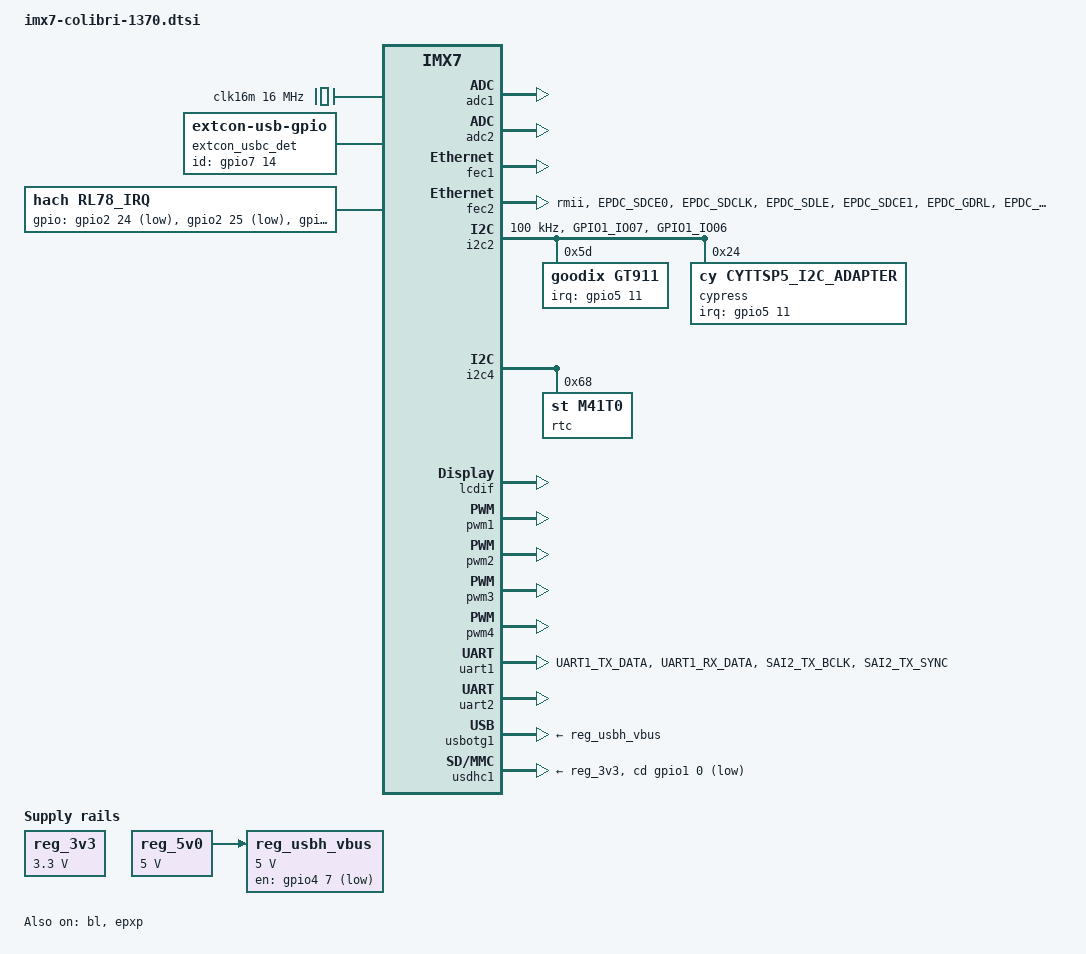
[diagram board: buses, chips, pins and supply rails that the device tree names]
/*
 * Copyright 2016 Toradex AG
 *
 * This file is dual-licensed: you can use it either under the terms
 * of the GPL or the X11 license, at your option. Note that this dual
 * licensing only applies to this file, and not this project as a
 * whole.
 *
 *  a) This file is free software; you can redistribute it and/or
 *     modify it under the terms of the GNU General Public License as
 *     published by the Free Software Foundation; either version 2 of the
 *     License, or (at your option) any later version.
 *
 *     This file is distributed in the hope that it will be useful,
 *     but WITHOUT ANY WARRANTY; without even the implied warranty of
 *     MERCHANTABILITY or FITNESS FOR A PARTICULAR PURPOSE.  See the
 *     GNU General Public License for more details.
 *
 * Or, alternatively,
 *
 *  b) Permission is hereby granted, free of charge, to any person
 *     obtaining a copy of this software and associated documentation
 *     files (the "Software"), to deal in the Software without
 *     restriction, including without limitation the rights to use,
 *     copy, modify, merge, publish, distribute, sublicense, and/or
 *     sell copies of the Software, and to permit persons to whom the
 *     Software is furnished to do so, subject to the following
 *     conditions:
 *
 *     The above copyright notice and this permission notice shall be
 *     included in all copies or substantial portions of the Software.
 *
 *     THE SOFTWARE IS PROVIDED "AS IS", WITHOUT WARRANTY OF ANY KIND,
 *     EXPRESS OR IMPLIED, INCLUDING BUT NOT LIMITED TO THE WARRANTIES
 *     OF MERCHANTABILITY, FITNESS FOR A PARTICULAR PURPOSE AND
 *     NONINFRINGEMENT. IN NO EVENT SHALL THE AUTHORS OR COPYRIGHT
 *     HOLDERS BE LIABLE FOR ANY CLAIM, DAMAGES OR OTHER LIABILITY,
 *     WHETHER IN AN ACTION OF CONTRACT, TORT OR OTHERWISE, ARISING
 *     FROM, OUT OF OR IN CONNECTION WITH THE SOFTWARE OR THE USE OR
 *     OTHER DEALINGS IN THE SOFTWARE.
 */

/ {
	aliases {
		rtc0 = &snvs_rtc;
		rtc1 = &rtc;
	};

	chosen {
		stdout-path = "serial0:115200n8";
	};

	/* fixed crystal dedicated to mcp251x */
	clk16m: clk16m {
		compatible = "fixed-clock";
		#clock-cells = <0>;
		clock-frequency = <16000000>;
	};

	extcon_usbc_det: usbc_det {
		compatible = "linux,extcon-usb-gpio";
		debounce = <25>;
		id-gpio = <&gpio7 14 GPIO_ACTIVE_HIGH>;
		pinctrl-names = "default";
		pinctrl-0 = <&pinctrl_usbc_det>;
	};

	reg_3v3: regulator-3v3 {
		compatible = "regulator-fixed";
		regulator-name = "3.3V";
		regulator-min-microvolt = <3300000>;
		regulator-max-microvolt = <3300000>;
	};

	reg_5v0: regulator-5v0 {
		compatible = "regulator-fixed";
		regulator-name = "5V";
		regulator-min-microvolt = <5000000>;
		regulator-max-microvolt = <5000000>;
	};

	reg_usbh_vbus: regulator-usbh-vbus {
		compatible = "regulator-fixed";
		pinctrl-names = "default";
		pinctrl-0 = <&pinctrl_usbh_reg>;
		regulator-name = "VCC_USB[1-4]";
		regulator-min-microvolt = <5000000>;
		regulator-max-microvolt = <5000000>;
		gpio = <&gpio4 7 GPIO_ACTIVE_LOW>;
		vin-supply = <&reg_5v0>;
	};

	/* Remove sound module */
	/delete-node/sound;

};

&bl {
	/* Use PWM_B for backlight */
	/* last value is for polarity: 0-normal, 1-inverted */
	pwms = <&pwm2 0 5000000 1>;

	/* GPIO to enable backlight on 1370-C is GPIO4_IO11 - SODIMM 86 */
	enable-gpios = <&gpio4 11 GPIO_ACTIVE_HIGH>;

	/* 6 levels inverted for 1370 board with backlight reduced by PWM */
	/* At level 0, the driver uses the enable gpio to stop the backlight and the PWM is disabled */
	brightness-levels = <0 30 50 100 170 255>;
	default-brightness-level = <5>;
	power-supply = <&reg_3v3>;

	status = "okay";
};

&adc1 {
	status = "okay";
};

&adc2 {
	status = "okay";
};

&epxp {
	status = "okay";
};

&fec1 {
	status = "okay";
};


/*
	fec1 configuration from imx7s.dtsi, imx7-colibri.dtsi, imx7-colibri-1370.dtsi gives:
		compatible = "fsl,imx7d-fec", "fsl,imx6sx-fec";
		reg = <0x30be0000 0x10000>;
		interrupts = <GIC_SPI 118 IRQ_TYPE_LEVEL_HIGH>,
			<GIC_SPI 119 IRQ_TYPE_LEVEL_HIGH>,
			<GIC_SPI 120 IRQ_TYPE_LEVEL_HIGH>;
		clocks = <&clks IMX7D_ENET_AXI_ROOT_CLK>,
			<&clks IMX7D_ENET_AXI_ROOT_CLK>,
			<&clks IMX7D_ENET1_TIME_ROOT_CLK>,
			<&clks IMX7D_PLL_ENET_MAIN_50M_CLK>;
		clock-names = "ipg", "ahb", "ptp", "enet_clk_ref";
		fsl,num-tx-queues=<3>;
		fsl,num-rx-queues=<3>;
		status = "okay";
		pinctrl-names = "default", "sleep";
		pinctrl-0 = <&pinctrl_enet1>;
		pinctrl-1 = <&pinctrl_enet1_sleep>;
		assigned-clocks = <&clks IMX7D_ENET1_TIME_ROOT_SRC>, <&clks IMX7D_ENET1_TIME_ROOT_CLK>;
		assigned-clock-parents = <&clks IMX7D_PLL_ENET_MAIN_100M_CLK>;
		assigned-clock-rates = <0>, <100000000>;
		phy-mode = "rmii";
		phy-supply = <&reg_LDO1>;
		fsl,magic-packet;

	fec2 configuration from imx7d.dtsi gives:
		compatible = "fsl,imx7d-fec", "fsl,imx6sx-fec";
		reg = <0x30bf0000 0x10000>;
		interrupts = <GIC_SPI 100 IRQ_TYPE_LEVEL_HIGH>,
			<GIC_SPI 101 IRQ_TYPE_LEVEL_HIGH>,
			<GIC_SPI 102 IRQ_TYPE_LEVEL_HIGH>;
		clocks = <&clks IMX7D_ENET2_IPG_ROOT_CLK>,
			<&clks IMX7D_ENET_AXI_ROOT_CLK>,
			<&clks IMX7D_ENET2_TIME_ROOT_CLK>,
			<&clks IMX7D_PLL_ENET_MAIN_125M_CLK>,
			<&clks IMX7D_ENET_PHY_REF_ROOT_DIV>;
		clock-names = "ipg", "ahb", "ptp",
			"enet_clk_ref", "enet_out";
		fsl,num-tx-queues=<3>;
		fsl,num-rx-queues=<3>;
		status = "disabled";

		We customize it to:
		- get our pinctrl configuration to select proper pin
		- select phy rmii mode
		- enable the fec2 interface
		- enable fsl,magic-packet to be able to wake-up controller with a magic packet
		- enable fsl,mii-exclusive to use a dedicated sdio per fec interface
		- properly set clocks:
			- same as the fec1 clocks (ipg, ahb and ptp values not clear, probably coming from ethernet controller requirements). The default imx7d.dtsi clock settings for fec2 are for gigabyte ethernet PHY.
			- don't reuse the same clocks as fec1 to avoid interferences
			- pinctrl_enet2 settings comes from a forum, it is not clear why the SION bit is required for MX7D_PAD_I2C2_SCL__CCM_ENET_REF_CLK2
*/
&fec2 {
	pinctrl-names = "default", "sleep";
	pinctrl-0 = <&pinctrl_enet2>;
	pinctrl-1 = <&pinctrl_enet2_sleep>;

	clocks = <&clks IMX7D_ENET2_IPG_ROOT_CLK>,
		<&clks IMX7D_ENET_AXI_ROOT_CLK>,
		<&clks IMX7D_ENET2_TIME_ROOT_CLK>,
		<&clks IMX7D_PLL_ENET_MAIN_50M_CLK>,
		<&clks IMX7D_ENET2_REF_ROOT_DIV>;
	clock-names = "ipg", "ahb", "ptp", "enet_clk_ref", "enet_out";

	assigned-clocks = 	<&clks IMX7D_ENET2_TIME_ROOT_SRC>,
				<&clks IMX7D_ENET2_TIME_ROOT_CLK>,
				<&clks IMX7D_ENET_PHY_REF_ROOT_DIV>;
	assigned-clock-parents = <&clks IMX7D_PLL_ENET_MAIN_100M_CLK>;
	assigned-clock-rates = <0>, <100000000>, <50000000>;

	phy-mode = "rmii";

	fsl,mii-exclusive;
	fsl,magic-packet;

	status = "okay";
};


&i2c1 {

	/* Remove audio codec */
	/delete-node/sgtl5000@0a;

	/* Remove resistive touchscreen */
	/delete-node/ad7879@2c;

};

&i2c2 {
	clock-frequency = <100000>;
	pinctrl-names = "default";
	pinctrl-0 = <&pinctrl_i2c2>;
	status = "okay";

	/* Goodix touchscreen controller */
	goodix: goodix@5d {
		compatible = "goodix,gt911";
		pinctrl-names = "default";
		pinctrl-0 = <&pinctrl_i2ctouch>;
		reg = <0x5d>;
		interrupt-parent = <&gpio5>;
		interrupts = <11 IRQ_TYPE_EDGE_FALLING>; /* (PIN 98) */
		status = "okay";
	};

	/* Cypress touchscreen controller */
	/* Reset and interrupt GPIO set in pinctrl_gpio2 */
	cypress: cypress@24 {
		compatible = "cy,cyttsp5_i2c_adapter";
		pinctrl-names = "default";
		pinctrl-0 = <&pinctrl_i2ctouch>;
		reg = <0x24>;

		interrupt-parent = <&gpio5>;
		interrupts = <11 IRQ_TYPE_EDGE_FALLING>; /* (SODIMM 98 - SD2_RESET_B) - gpio5.11 */
		cy,adapter_id = "cyttsp5_i2c_adapter";

		cy,core {
			cy,name = "cyttsp5_core";

			cy,irq_gpio = <139>; /* (SODIMM 98 - SD2_RESET_B) - gpio5.11 = (5-1) x 32 + 11 = 139 */
			cy,rst_gpio = <114>; /* (SODIMM 79 - ECSPI1_MISO) gpio4.18 = (4-1) x 32 + 18 = 114 */
			cy,hid_desc_register = <1>;
			/*CY_CORE_FLAG_RESTORE_PARAMETERS */
			cy,flags = <4>;
			/* CY_CORE_EWG_NONE */
			cy,easy_wakeup_gesture = <0>;
			cy,btn_keys = <
					60 /* KEY_F2 */
					62 /* KEY_F4 */
					>;
			cy,btn_keys-tag = <0>;

			cy,mt {
				cy,name = "cyttsp5_mt";

				cy,inp_dev_name = "cyttsp5_mt";
				cy,flags = <0x0>;
				cy,abs =
					/* ABS_MT_POSITION_X, CY_ABS_MIN_X, CY_ABS_MAX_X, 0, 0 */
					<0x35 0 320 0 0
					/* ABS_MT_POSITION_Y, CY_ABS_MIN_Y, CY_ABS_MAX_Y, 0, 0 */
					0x36 0 240 0 0
					/* ABS_MT_PRESSURE, CY_ABS_MIN_P, CY_ABS_MAX_P, 0, 0 */
					0x3a 0 255 0 0
					/* CY_IGNORE_VALUE, CY_ABS_MIN_W, CY_ABS_MAX_W, 0, 0 */
					0xffff 0 255 0 0
					/* ABS_MT_TRACKING_ID, CY_ABS_MIN_T, CY_ABS_MAX_T, 0, 0 */
					0x39 0 15 0 0
					/* ABS_MT_TOUCH_MAJOR, 0, 255, 0, 0 */
					0x30 0 255 0 0
					/* ABS_MT_TOUCH_MINOR, 0, 255, 0, 0 */
					0x31 0 255 0 0
					/* ABS_MT_ORIENTATION, -127, 127, 0, 0 */
					0x34 0xffffff81 127 0 0
					/* ABS_MT_TOOL_TYPE, 0, MT_TOOL_MAX, 0, 0 */
					0x37 0 1 0 0
					/* ABS_MT_DISTANCE, 0, 255, 0, 0 */
					0x3b 0 255 0 0>;
			};

			cy,btn {
				cy,name = "cyttsp5_btn";

				cy,inp_dev_name = "cyttsp5_btn";
			};
		};
	};

};

&i2c4 {
	status = "okay";

/* the PCAPs use SODIMM 28/30, also used for PWM<B>, PWM<C>, aka pwm2, pwm3.
   so if you enable one of the PCAP controllers disable the pwms */
	/* Atmel maxtouch controller */
	atmel_mxt_ts: atmel_mxt_ts@4a {
		compatible = "atmel,maxtouch";
		pinctrl-names = "default";
		pinctrl-0 = <&pinctrl_gpiotouch>;
		reg = <0x4a>;
		interrupt-parent = <&gpio1>;
		interrupts = <9 IRQ_TYPE_EDGE_FALLING>; /* SODIMM 28 */
		reset-gpios = <&gpio1 10 GPIO_ACTIVE_HIGH>; /* SODIMM 30 */
		status = "disabled";
	};

	touch: touchrevf0710a@10 {
		compatible = "touchrevolution,fusion-f0710a";
		pinctrl-names = "default";
		pinctrl-0 = <&pinctrl_gpiotouch>;
		reg = <0x10>;
			/* SODIMM 28, Pen down interrupt */
		gpios = <&gpio1 9 GPIO_ACTIVE_HIGH
			/* SODIMM 30, Reset interrupt */
			 &gpio1 10 GPIO_ACTIVE_LOW
			>;
		status = "disabled";
	};

	/* M41T0M6 real time clock on carrier board */
	rtc: m41t0m6@68 {
		compatible = "st,m41t0";
		reg = <0x68>;
	};
};

&lcdif {
	display = <&display0>;
	status = "okay";

	display0: lcd-display {
		bits-per-pixel = <32>;
		bus-width = <18>;

		display-timings {

			native-mode = <&timing_qvga_ips>;

			/* QVGA timing for Jiya 14A99 display with Himax controller from datasheet
			   320x240 pixels
			   Parallel-rgb mode:
			   Dot clock	6.5MHz
			   H Back porch	68 dots -> 58 dots (10 dots removed for HSync)
			   H Front porch 20 dots
			   V Back porch	18 lines -> 16 lines (2 lines removed for VSync)
			   V Front porch 4 lines
			   HSync, VSync and DE active low
			   Pixel clock sample on falling edge
			   HSync and VSync are deduced from Data transaction timing in parallel RGB mode
			   HSync: 10 dots (between 2 and 67 dots)
			   VSync: 2 lines
			*/
			timing_qvga: 320x240 {
				clock-frequency = <6500000>;
				hactive = <320>;
				hfront-porch = <20>;
				hsync-len = <10>;
				hback-porch = <58>;

				vactive = <240>;
				vfront-porch = <4>;
				vsync-len = <2>;
				vback-porch = <16>;

				de-active = <0>;
				hsync-active = <0>;
				vsync-active = <0>;
				pixelclk-active = <0>;

				linux,phandle = <&timing_qvga>;
			};

			/* QVGA timing for Jiya (IPS) display with Sitronix controller from datasheet
			   320x240 pixels
			   Parallel-rgb mode:
			   Dot clock	6MHz
			   H Back porch	43 dots -> 39 dots (4 dots removed for HSync)
			   H Front porch 8 dots
			   V Back porch	12 lines -> 8 lines (4 lines removed for VSync)
			   V Front porch 8 lines
			   HSync, VSync and DE active low
			   Pixel clock sample on falling edge
			   HSync and VSync are deduced from Data transaction timing in parallel RGB mode
			   HSync: 4 dots
			   VSync: 4 lines
			*/
			timing_qvga_ips: 320x240_ips {
				clock-frequency = <6000000>;
				hactive = <320>;
				hfront-porch = <8>;
				hsync-len = <4>;
				hback-porch = <39>;

				vactive = <240>;
				vfront-porch = <8>;
				vsync-len = <4>;
				vback-porch = <8>;

				de-active = <0>;
				hsync-active = <0>;
				vsync-active = <0>;
				pixelclk-active = <0>;

				linux,phandle = <&timing_qvga_ips>;
			};
		};
	};
};

&pwm1 {
	status = "okay";
};

/* the PCAPs use SODIMM 28/30, also used for PWM<B>, PWM<C>, aka pwm2, pwm3.
   so if you enable one of the PCAP controllers disable the pwms */
&pwm2 {
	status = "okay";
};

&pwm3 {
	status = "okay";
};

&pwm4 {
	status = "okay";
};

&uart1 {
	status = "okay";
};

&uart2 {
	status = "okay";
};

/* Disable UART3 because it is not used, so that the pin configuration defined in the node "pinctrl_uart3" of imx7d-colibri.dtsi is not took into account
   By disabling it, we make sure that 
   UART3_RX_DATA is set as GPIO4_IO4, signal USBC_OC in PCB 1370-C
   UART3_TX_DATA is set as GPIO4_IO5, signal USBC_P_EN in PCB 1370-C */
&uart3 {
	status = "disabled";
};

/* This is the USBC of the Colibri intended to be connected to USB Box */
&usbotg1 {
	extcon = <&extcon_usbc_det>, <&extcon_usbc_det>;
	vbus-supply = <&reg_usbh_vbus>;
	status = "okay";
	maximum-speed = "full-speed";		/* Force USBC port (USB Box) to full-speed */
};

/* The define SD_1_8 allows to use the SD interface at a higher speed mode
 * if the card supports it. For this the signaling voltage is switched from
 * 3.3V to 1.8V under the usdhc1's drivers control.
 * All pins supplied with NVCC_SD1 must be able to cope with this
 * and must (MUST!!!) not be driven with a voltage higher than 1.8V or
 * the interface will not work.
 */
/* #define SD_1_8 */
&usdhc1 {
#ifdef SD_1_8
	pinctrl-names = "default", "state_100mhz", "state_200mhz";
	pinctrl-0 = <&pinctrl_usdhc1 &pinctrl_cd_usdhc1>;
	pinctrl-1 = <&pinctrl_usdhc1_100mhz &pinctrl_cd_usdhc1>;
	pinctrl-2 = <&pinctrl_usdhc1_200mhz &pinctrl_cd_usdhc1>;
	vqmmc-supply = <&reg_LDO2>;
#else
	pinctrl-names = "default";
	pinctrl-0 = <&pinctrl_usdhc1 &pinctrl_cd_usdhc1>;
	no-1-8-v;
#endif
	cd-gpios = <&gpio1 0 GPIO_ACTIVE_LOW>;
	disable-wp;
	enable-sdio-wakeup;
	keep-power-in-suspend;
	wakeup-source;
	status = "okay";
	vmmc-supply = <&reg_3v3>;
};

&iomuxc {
	pinctrl_gpiotouch: touchgpios {
		fsl,pins = <
			MX7D_PAD_GPIO1_IO09__GPIO1_IO9		0x74
			MX7D_PAD_GPIO1_IO10__GPIO1_IO10		0x14
		>;
	};


	/*
	 SoC connections for second ethernet
		<SoC pin> <SoC name> (<Function>) -> <PHY pin>

		Pin 122 CRS_DV (RX_CTL) -> RXDV
		Pin 114 RXD0 (RD0) -> RXD0
		Pin 116 RXD1 (RD1) -> RXD1
		Pin 124 RXER (RXC) -> RXER
		Pin 133 TXEN (TX_CTL) -> TXEN
		Pin 127 TXD0 (TD0) -> TXD0
		Pin 130 TXD1 (TD1) -> TXD1
		Pin 89 CLKOUT(CLKOUT) -> XI
		Pin 188 MDIO (MDIO) -> MDIO
		Pin 178 MDC (MDC) -> MDC

	IOs conflict with ecspi3 for MX7D_PAD_I2C2_SCL__CCM_ENET_REF_CLK2
	IOs conflict with flexcan2 for MX7D_PAD_GPIO1_IO14__ENET2_MDIO and MX7D_PAD_GPIO1_IO15__ENET2_MDC
	IOs conflict with pinctrl_gpio1 and pinctrl_gpio4 for others
	*/
	pinctrl_enet2: enet2grp {
		fsl,pins = <
			MX7D_PAD_EPDC_SDCE0__ENET2_RGMII_RX_CTL	0x73
			MX7D_PAD_EPDC_SDCLK__ENET2_RGMII_RD0	0x73
			MX7D_PAD_EPDC_SDLE__ENET2_RGMII_RD1		0x73
			MX7D_PAD_EPDC_SDCE1__ENET2_RX_ER		0x73

			MX7D_PAD_EPDC_GDRL__ENET2_RGMII_TX_CTL	0x73
			MX7D_PAD_EPDC_SDCE2__ENET2_RGMII_TD0	0x73
			MX7D_PAD_EPDC_SDCE3__ENET2_RGMII_TD1	0x73
			MX7D_PAD_I2C2_SCL__CCM_ENET_REF_CLK2	0x40000073
			MX7D_PAD_GPIO1_IO14__ENET2_MDIO			0x3
			MX7D_PAD_GPIO1_IO15__ENET2_MDC			0x3
		>;
	};

	/* Duplicated std setting with GPIO selected and 0x0 for mask */
	pinctrl_enet2_sleep: enet2sleepgrp {
		fsl,pins = <
			MX7D_PAD_EPDC_SDCE0__GPIO2_IO20	0x0
			MX7D_PAD_EPDC_SDCLK__GPIO2_IO16	0x0
			MX7D_PAD_EPDC_SDLE__GPIO2_IO17		0x0
			MX7D_PAD_EPDC_SDCE1__GPIO2_IO21	0x0

			MX7D_PAD_EPDC_GDRL__GPIO2_IO26		0x0
			MX7D_PAD_EPDC_SDCE2__GPIO2_IO22	0x0
			MX7D_PAD_EPDC_SDCE3__GPIO2_IO23	0x0
			MX7D_PAD_I2C2_SCL__GPIO4_IO10		0x0
			MX7D_PAD_GPIO1_IO14__GPIO1_IO14	0x0
			MX7D_PAD_GPIO1_IO15__GPIO1_IO15	0x0
		>;
	};

	pinctrl_gpio1: gpio1-grp {
		fsl,pins = <
			MX7D_PAD_SAI1_RX_SYNC__GPIO6_IO16	0x74 /* SODIMM 77 - Reset main board RL78*/
			MX7D_PAD_EPDC_DATA09__GPIO2_IO9		0x14 /* SODIMM 89 */
			MX7D_PAD_EPDC_DATA08__GPIO2_IO8		0x74 /* SODIMM 91 */
			MX7D_PAD_LCD_RESET__GPIO3_IO4		0x14 /* SODIMM 93 */
			MX7D_PAD_EPDC_DATA13__GPIO2_IO13	0x14 /* SODIMM 95 */
			MX7D_PAD_ENET1_RGMII_TXC__GPIO7_IO11	0x14 /* SODIMM 99 */
			MX7D_PAD_EPDC_DATA10__GPIO2_IO10	0x14 /* SODIMM 105 - External WDOG enable (not used) */
			MX7D_PAD_EPDC_DATA04__GPIO2_IO4		0x14 /* SODIMM 119 */
			MX7D_PAD_EPDC_DATA05__GPIO2_IO5		0x14 /* SODIMM 121 */
			MX7D_PAD_EPDC_DATA06__GPIO2_IO6		0x74 /* SODIMM 123 - LOW_BATT battery low when signal low */
			MX7D_PAD_EPDC_DATA07__GPIO2_IO7		0x74 /* SODIMM 125 - Reset the Carrier board */
			MX7D_PAD_UART3_RTS_B__GPIO4_IO6		0x14 /* SODIMM 131 */
			MX7D_PAD_SAI1_RX_DATA__GPIO6_IO12	0x14 /* SODIMM 169 */
			MX7D_PAD_SAI1_RX_BCLK__GPIO6_IO17	0x14 /* SODIMM 24 */
			MX7D_PAD_SD2_DATA2__GPIO5_IO16		0x74 /* SODIMM 100 - Reset RF board (not used) */
			MX7D_PAD_SD2_DATA3__GPIO5_IO17		0x74 /* SODIMM 102 - IRQ from RF board (not used) */
			MX7D_PAD_EPDC_GDSP__GPIO2_IO27		0x14 /* SODIMM 104 */
			MX7D_PAD_EPDC_SDSHR__GPIO2_IO19		0x14 /* SODIMM 120 */
			MX7D_PAD_EPDC_DATA14__GPIO2_IO14	0x14 /* SODIMM 126 */
			MX7D_PAD_EPDC_PWR_STAT__GPIO2_IO31	0x14 /* SODIMM 128 */
			MX7D_PAD_EPDC_DATA11__GPIO2_IO11	0x14 /* SODIMM 152 */
			MX7D_PAD_SD2_CLK__GPIO5_IO12		0x14 /* SODIMM 184 */
			MX7D_PAD_SD2_CMD__GPIO5_IO13		0x14 /* SODIMM 186 */
			MX7D_PAD_UART3_RX_DATA__GPIO4_IO4	0x7C /* SODIMM 21 - USBC_OC set as GPIO 100K PU Hysteresis enabled*/
			MX7D_PAD_UART3_TX_DATA__GPIO4_IO5       0x74 /* SODIMM 19 - USBC_P_EN set as GPIO GPIO 100K PU Hysteresis disabled */
			MX7D_PAD_I2C2_SDA__GPIO4_IO11		0x74 /* SODIMM 86 - Backlight Enable */
		>;
	};

	pinctrl_gpio2: gpio2-grp { /* On X22 Camera interface */
		fsl,pins = <
			MX7D_PAD_SD1_CD_B__GPIO5_IO0		0x74 /* SODIMM 69 */
			MX7D_PAD_I2C4_SDA__GPIO4_IO15		0x74 /* SODIMM 75 - Reset Ethernet controller */
			MX7D_PAD_I2C3_SCL__GPIO4_IO12		0x14 /* SODIMM 81 */
			MX7D_PAD_ECSPI2_MISO__GPIO4_IO22	0x14 /* SODIMM 85 */
			MX7D_PAD_ECSPI1_SS0__GPIO4_IO19		0x14 /* SODIMM 97 */
			MX7D_PAD_I2C3_SDA__GPIO4_IO13		0x14 /* SODIMM 94 */
			MX7D_PAD_I2C4_SCL__GPIO4_IO14		0x14 /* SODIMM 96 */
		>;
	};

	pinctrl_gpio3: gpio3-grp { /* RL78_IRQ3 - RL78_IRQ8 */
		fsl,pins = <
		>;
	};

	pinctrl_gpio4: gpio4-grp { /* Alternatively CAN2 */
		fsl,pins = <
		>;
	};

	pinctrl_gpio6: gpio6-grp { /* ATMEL MXT TOUCH */
		fsl,pins = <
			MX7D_PAD_EPDC_DATA15__GPIO2_IO15	0x14 /* SODIMM 107 */
		>;
	};

	pinctrl_i2ctouch: i2ctouch-grp  {
		fsl,pins = <
			MX7D_PAD_ECSPI1_MISO__GPIO4_IO18	0x74 /* SODIMM 79 - Touch screen Reset */
			MX7D_PAD_SD2_RESET_B__GPIO5_IO11	0x70 /* SODIMM 98 - Touch screen Interrupt */
		>;
	};

	pinctrl_pwm1: pwm1-grp {
		fsl,pins = <
			MX7D_PAD_GPIO1_IO08__PWM1_OUT		0x14	/* SODIMM 59 - Multiplexed with ECSPI2_MOSI */
			MX7D_PAD_ECSPI2_MOSI__GPIO4_IO21	0x14	/* SODIMM 59 */
		>;
	};

	pinctrl_pwm2: pwm2-grp {
		fsl,pins = <
			MX7D_PAD_GPIO1_IO09__PWM2_OUT		0x7C	/* SODIMM 28 - PWM for display brightness command */
		>;
	};

	pinctrl_pwm3: pwm3-grp {
		fsl,pins = <
			MX7D_PAD_GPIO1_IO10__PWM3_OUT		0x14	/* SODIMM 30 */
		>;
	};

	pinctrl_pwm4: pwm4-grp {
		fsl,pins = <
			MX7D_PAD_GPIO1_IO11__PWM4_OUT		0x14	/* SODIMM 67 - Multiplexed with ECSPI2_SCLK */
			MX7D_PAD_ECSPI2_SCLK__GPIO4_IO20	0x14
		>;
	};

	pinctrl_uart2: uart2-grp {
		fsl,pins = <
			MX7D_PAD_UART2_TX_DATA__UART2_DTE_RX 0x78	/* SODIMM 36 - UART_B (not used) */
			MX7D_PAD_UART2_RX_DATA__UART2_DTE_TX 0x78	/* SODIMM 38 - UART_B (not used) */
			MX7D_PAD_SAI2_RX_DATA__UART2_DTE_RTS 0x79	/* SODIMM 32 - UART_B CTS (not used) */
			MX7D_PAD_SAI2_TX_DATA__UART2_DTE_CTS 0x79	/* SODIMM 34 - UART_B RTS (not used) */
		>;
	};

	pinctrl_uart1: uart1-grp {
		fsl,pins = <
			MX7D_PAD_UART1_TX_DATA__UART1_DTE_RX	0x79
			MX7D_PAD_UART1_RX_DATA__UART1_DTE_TX	0x79
			MX7D_PAD_SAI2_TX_BCLK__UART1_DCE_RTS	0x79	/* SODIMM 27 - DebuG tool RTS */
			MX7D_PAD_SAI2_TX_SYNC__UART1_DCE_CTS	0x79	/* SODIMM 25 - Debut tool CTS */
		>;
	};


	pinctrl_rl78irq: rl78irq-grp  {
		fsl,pins = <			
			MX7D_PAD_EPDC_GDCLK__GPIO2_IO24		0x74 /* SODIMM 132 - RL78_IRQ1 */
			MX7D_PAD_EPDC_GDOE__GPIO2_IO25		0x74 /* SODIMM 134 - RL78_IRQ2 */
			MX7D_PAD_LCD_DATA18__GPIO3_IO23		0x74 /* SODIMM 136 - RL78_IRQ3 */
			MX7D_PAD_LCD_DATA19__GPIO3_IO24		0x74 /* SODIMM 138 - RL78_IRQ4 */
			MX7D_PAD_LCD_DATA20__GPIO3_IO25		0x74 /* SODIMM 140 - RL78_IRQ5 */
			MX7D_PAD_LCD_DATA21__GPIO3_IO26		0x74 /* SODIMM 142 - RL78_IRQ6 */
			MX7D_PAD_LCD_DATA22__GPIO3_IO27		0x74 /* SODIMM 144 - RL78_IRQ7 */
			MX7D_PAD_LCD_DATA23__GPIO3_IO28		0x74 /* SODIMM 146 - RL78_IRQ8 */
			MX7D_PAD_EPDC_DATA12__GPIO2_IO12	0x74 /* SODIMM 150 - RL78_IRQ9 */
			MX7D_PAD_ECSPI1_SCLK__GPIO4_IO16	0x74 /* SODIMM 101 - RL78_IRQ10 */
			MX7D_PAD_ECSPI1_MOSI__GPIO4_IO17	0x74 /* SODIMM 103 - RL78_IRQ11 */
			MX7D_PAD_EPDC_BDR0__GPIO2_IO28		0x74 /* SODIMM 106 - RL78_IRQ12 */
			MX7D_PAD_EPDC_BDR1__GPIO2_IO29		0x74 /* SODIMM 110 - RL78_IRQ13 */
			MX7D_PAD_EPDC_DATA00__GPIO2_IO0		0x74 /* SODIMM 111 - RL78_IRQ14 */
			MX7D_PAD_EPDC_PWR_COM__GPIO2_IO30	0x74 /* SODIMM 112 - RL78_IRQ15 */
			MX7D_PAD_EPDC_DATA01__GPIO2_IO1		0x74 /* SODIMM 113 - RL78_IRQ16 */
			MX7D_PAD_EPDC_DATA02__GPIO2_IO2		0x74 /* SODIMM 115 - RL78_IRQ17 */
			MX7D_PAD_EPDC_DATA03__GPIO2_IO3		0x74 /* SODIMM 117 - RL78_IRQ18 */
			MX7D_PAD_EPDC_SDOE__GPIO2_IO18		0x74 /* SODIMM 118 - RL78_IRQ19 */
		>;
	};
};

/ {	
	rl78_irq {
		/* Device that manages the interrupt lines used by RL78s */
		/* The used GPIOs are set as input, drive strenght = 0, slow slew rate, hysteresis disabled, 100 kOhm pull-up */
		/* Interrupts are set, in the device driver, to active on falling edge */
		compatible = "hach,rl78_irq";
		pinctrl-names = "default";
		pinctrl-0 = <&pinctrl_rl78irq>;
		status = "okay";
		gpios = <&gpio2 24 GPIO_ACTIVE_LOW>,	/* SODIMM 132 - RL78_IRQ1 */
			<&gpio2 25 GPIO_ACTIVE_LOW>,	/* SODIMM 134 - RL78_IRQ2 */
			<&gpio3 23 GPIO_ACTIVE_LOW>,	/* SODIMM 136 - RL78_IRQ3 */
			<&gpio3 24 GPIO_ACTIVE_LOW>,	/* SODIMM 138 - RL78_IRQ4 */
			<&gpio3 25 GPIO_ACTIVE_LOW>,	/* SODIMM 140 - RL78_IRQ5 */
			<&gpio3 26 GPIO_ACTIVE_LOW>,	/* SODIMM 142 - RL78_IRQ6 */
			<&gpio3 27 GPIO_ACTIVE_LOW>,	/* SODIMM 144 - RL78_IRQ7 */
			<&gpio3 28 GPIO_ACTIVE_LOW>,	/* SODIMM 146 - RL78_IRQ8 */
			<&gpio2 12 GPIO_ACTIVE_LOW>,	/* SODIMM 150 - RL78_IRQ9 */
			<&gpio4 16 GPIO_ACTIVE_LOW>,	/* SODIMM 101 - RL78_IRQ10 */
			<&gpio4 17 GPIO_ACTIVE_LOW>,	/* SODIMM 103 - RL78_IRQ11 */
			<&gpio2 28 GPIO_ACTIVE_LOW>,	/* SODIMM 106 - RL78_IRQ12 */
			<&gpio2 29 GPIO_ACTIVE_LOW>,	/* SODIMM 110 - RL78_IRQ13 */
			<&gpio2 0 GPIO_ACTIVE_LOW>,	/* SODIMM 111 - RL78_IRQ14 */
			<&gpio2 30 GPIO_ACTIVE_LOW>,	/* SODIMM 112 - RL78_IRQ15 */
			<&gpio2 1 GPIO_ACTIVE_LOW>,	/* SODIMM 113 - RL78_IRQ16 */
			<&gpio2 2 GPIO_ACTIVE_LOW>,	/* SODIMM 115 - RL78_IRQ17 */
			<&gpio2 3 GPIO_ACTIVE_LOW>,	/* SODIMM 117 - RL78_IRQ18 */
			<&gpio2 18 GPIO_ACTIVE_LOW>;	/* SODIMM 118 - RL78_IRQ19 */		
	};

};

/* Pins GPIO1_IO06 and GPIO1_IO07 are no more allocated to RI and DSR for uart1
 * Those pins are now allocated to I2C2
 * On I2C2 bus the light sensor and the capacitive touchpad are connected
 */
&uart1 {
	pinctrl-0 = <&pinctrl_uart1 &pinctrl_uart1_ctrl1>;
};

&iomuxc_lpsr {
	pinctrl_i2c2: i2c2-grp  {
		fsl,pins = <
			MX7D_PAD_GPIO1_IO07__I2C2_SDA	0x4000007f
			MX7D_PAD_GPIO1_IO06__I2C2_SCL	0x4000007f
		>;
	};

	pinctrl_gpio_lpsr: gpio1-grp {
		fsl,pins = <
			/* MX7D_PAD_GPIO1_IO02__GPIO1_IO2	0x14  SODIMM 135 */
			/* MX7D_PAD_GPIO1_IO03__GPIO1_IO3	0x14  SODIMM 22 */
			MX7D_PAD_GPIO1_IO01__GPIO1_IO1	0X74 /* SODIMM 45 - Reset USB HUB*/  
		>;
	};
};
/* Pin MX7D_PAD_I2C2_SDA__GPIO4_IO11 is no longer used as SPI3 CS.
 * This pin is now used as Backlight Enable signal.
 * It is configured properly in pinctrl_gpio1: gpio1-grp  
 */
&ecspi3 {
	pinctrl-0 = <&pinctrl_ecspi3>;

};
